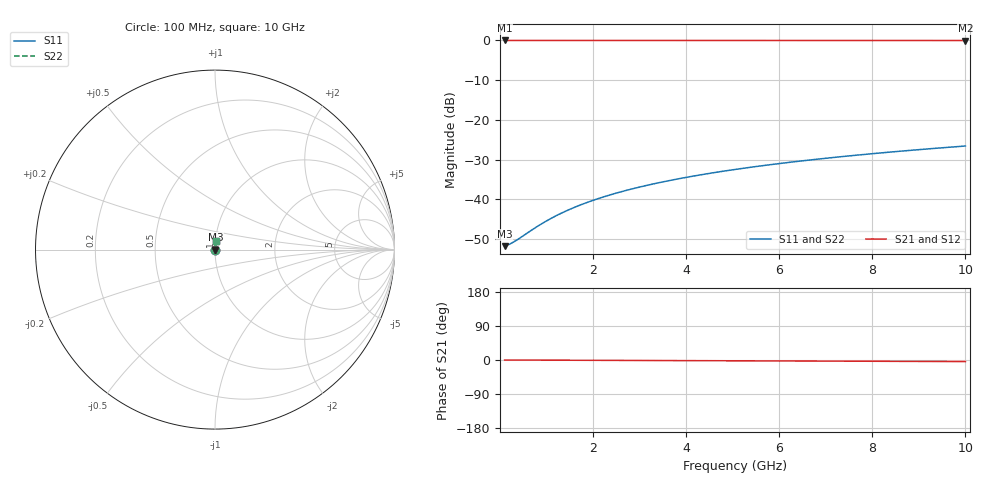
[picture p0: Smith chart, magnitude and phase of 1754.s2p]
# Hz S RI R 50.00
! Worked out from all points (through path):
!   100 points, 100 MHz to 10 GHz, reference 50 ohm
!   highest |S21| = -0.02 dB at 100 MHz (marker M1); lowest = 0.0 dB at 10 GHz (marker M2)
!   lowest |S11| = -51.7 dB at 100 MHz (marker M3), VSWR 1.01, Z = 50.3 + j0.0469 ohm
!   |S11| at or under -10 dB: start of sweep to end of sweep
!   |S22| runs from -51.7 to -26.6 dB; largest |S21 - S12| = 0
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1e8  0.00254 0.000467  0.9975 -0.000723  0.9975 -0.000723  0.00254 0.000467
2e8  0.00256 0.000934  0.9974 -0.00145  0.9974 -0.00145  0.00256 0.000934
3e8  0.00258 0.0014  0.9974 -0.00217  0.9974 -0.00217  0.00258 0.0014
8e8  0.00263 0.00373  0.9974 -0.00579  0.9974 -0.00579  0.00263 0.00373
9e8  0.00264 0.0042  0.9973 -0.00651  0.9973 -0.00651  0.00264 0.0042
1.1e9  0.00267 0.00513  0.9973 -0.00796  0.9973 -0.00796  0.00267 0.00513
1.4e9  0.00271 0.00654  0.9973 -0.0101  0.9973 -0.0101  0.00271 0.00654
1.6e9  0.00273 0.00747  0.9973 -0.0116  0.9973 -0.0116  0.00273 0.00747
1.8e9  0.00277 0.0084  0.9972 -0.013  0.9972 -0.013  0.00277 0.0084
2.1e9  0.00281 0.0098  0.9972 -0.0152  0.9972 -0.0152  0.00281 0.0098
2.5e9  0.00289 0.0117  0.9971 -0.0181  0.9971 -0.0181  0.00289 0.0117
2.9e9  0.00297 0.0135  0.997 -0.021  0.997 -0.021  0.00297 0.0135
3.4e9  0.00309 0.0159  0.9969 -0.0246  0.9969 -0.0246  0.00309 0.0159
3.8e9  0.0032 0.0177  0.9967 -0.0275  0.9967 -0.0275  0.0032 0.0177
4.2e9  0.00332 0.0196  0.9966 -0.0304  0.9966 -0.0304  0.00332 0.0196
4.6e9  0.00344 0.0215  0.9965 -0.0333  0.9965 -0.0333  0.00344 0.0215
5.1e9  0.00362 0.0238  0.9963 -0.0369  0.9963 -0.0369  0.00362 0.0238
5.9e9  0.00393 0.0275  0.9959 -0.0427  0.9959 -0.0427  0.00393 0.0275
6.7e9  0.00429 0.0312  0.9955 -0.0484  0.9955 -0.0484  0.00429 0.0312
7.5e9  0.00469 0.035  0.9951 -0.0542  0.9951 -0.0542  0.00469 0.035
8.4e9  0.00519 0.0391  0.9946 -0.0607  0.9946 -0.0607  0.00519 0.0391
1e10  0.00622 0.0466  0.9934 -0.0723  0.9934 -0.0723  0.00622 0.0466
